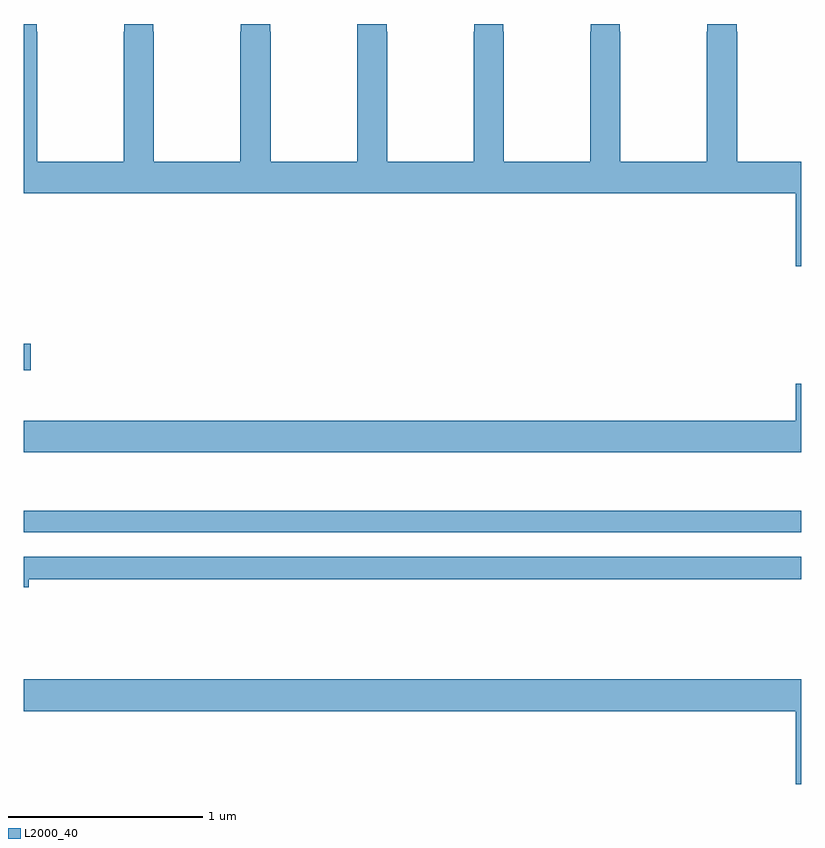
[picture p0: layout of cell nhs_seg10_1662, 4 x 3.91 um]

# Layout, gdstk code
import gdstk
lib = gdstk.Library(unit=1e-6, precision=1e-09)
def R(c, l, rs):  # rectangles x0, y0, x1, y1
    for r in rs: c.add(gdstk.rectangle(r[:2], r[2:], *l))
def P(c, l, *ps):  # polygons
    for p in ps: c.add(gdstk.Polygon(p, *l))
L2000_40 = (2000, 40)

nhs_seg10_1662 = lib.new_cell('nhs_seg10_1662')
R(nhs_seg10_1662, L2000_40, [(197,1319.886,201,1319.995), (197,1320.719,197.035,1320.854)])
P(nhs_seg10_1662, L2000_40, [(200.972,1321.254),(201,1321.254),(201,1321.792),(200.67,1321.792),(200.67,1322.459),(200.667,1322.459),(200.667,1322.5),(200.517,1322.5),(200.517,1322.459),(200.515,1322.459),(200.515,1321.792),(200.07,1321.792),(200.07,1322.459),(200.067,1322.459),(200.067,1322.5),(199.917,1322.5),(199.917,1322.459),(199.915,1322.459),(199.915,1321.792),(199.47,1321.792),(199.47,1322.459),(199.467,1322.459),(199.467,1322.5),(199.317,1322.5),(199.317,1322.459),(199.315,1322.459),(199.315,1321.792),(198.87,1321.792),(198.87,1322.459),(198.867,1322.459),(198.867,1322.5),(198.717,1322.5),(198.717,1322.459),(198.715,1322.459),(198.715,1321.792),(198.27,1321.792),(198.27,1322.459),(198.267,1322.459),(198.267,1322.5),(198.117,1322.5),(198.117,1322.459),(198.115,1322.459),(198.115,1321.792),(197.67,1321.792),(197.67,1322.459),(197.667,1322.459),(197.667,1322.5),(197.517,1322.5),(197.517,1322.459),(197.515,1322.459),(197.515,1321.792),(197.07,1321.792),(197.07,1322.459),(197.067,1322.459),(197.067,1322.5),(197,1322.5),(197,1321.628),(200.972,1321.628)],
  [(201,1320.649),(200.972,1320.649),(200.972,1320.46),(197,1320.46),(197,1320.296),(201,1320.296)],
  [(197.026,1319.644),(201,1319.644),(201,1319.76),(197,1319.76),(197,1319.602),(197.026,1319.602)],
  [(201,1319.128),(197,1319.128),(197,1318.964),(200.972,1318.964),(200.972,1318.59),(201,1318.59)])

lib.write_gds('nhs_seg10_1662.gds')
